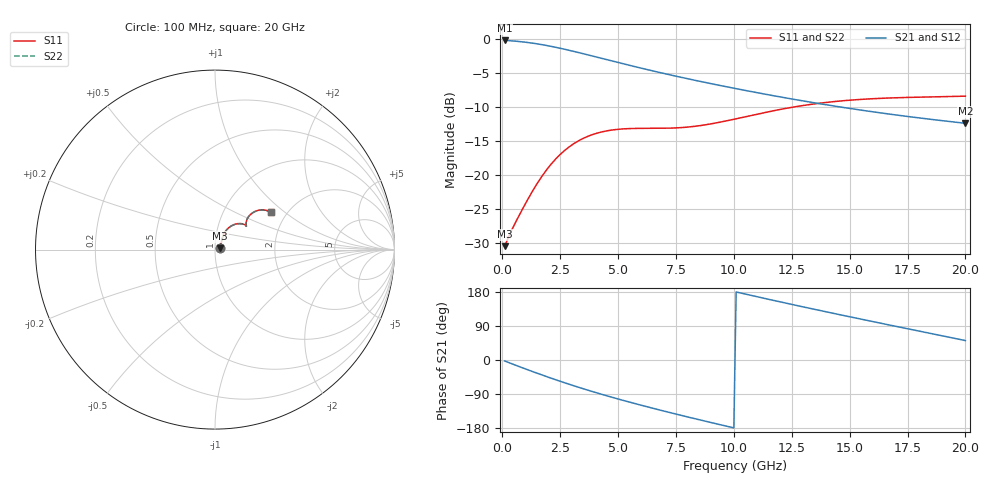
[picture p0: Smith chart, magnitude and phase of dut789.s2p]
! Touchstone file exported from HFSS 2024.1.0
!  File:  C:/UserFiles/LocalFiles/RDL_TSV_Batchsim/temp_RDL_TSV_789_1779907411.aedt
!  Generated:  03:01:26 AM May 28, 2026
!  Design:  RDL_TSV
!  Project:  temp_RDL_TSV_789_1779907411
!  Setup:  Setup1
!  Solution:  Sweep
! Variables:
!  dtsv = 8.12um
!  hbump = 3um
!  htsv = 86.12um
!  ldown = 687.46um
!  lrdl = 638.72um
!  p = 40
!  p1 = 41.77um
!  rhole = 10um
!  subl = 4617.26um
!  t = 450um
!  tdown = 4.55um
!  trdl = 3.04um
!  viad = 10um
!  wdown = 27.29um
!  wrdl = 13.1um
!  xbump = 18um
# GHz S MA R 50.000000
! Terminal data exported
! Port[1] = TM1_1_T1
! Port[2] = TM1_4_T1
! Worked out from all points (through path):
!   200 points, 100 MHz to 20 GHz, reference 50 ohm
!   highest |S21| = -0.26 dB at 100 MHz (marker M1); lowest = -12.4 dB at 20 GHz (marker M2)
!   group delay of S21, straight-line fit = 41.1 ps
!   lowest |S11| = -30.5 dB at 100 MHz (marker M3), VSWR 1.06, Z = 53 + j0.659 ohm
!   |S11| at or under -10 dB: start of sweep to 12.66 GHz
!   |S22| runs from -30.5 to -8.5 dB; largest |S21 - S12| = 2.8e-14
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0.1  0.0298 12.0  0.9707 -2.5  0.9707 -2.5  0.0298 12.0
! Gamma 0 0 0 0
! Port Impedance 50 0 50 0
0.5  0.0422 37.4  0.9614 -12.0  0.9614 -12.0  0.04223 37.4
0.9  0.05695 50.4  0.9467 -21.3  0.9467 -21.3  0.05697 50.2
1.4  0.08055 58.5  0.9225 -32.6  0.9225 -32.6  0.08047 58.3
1.8  0.1022 60.4  0.8988 -41.4  0.8988 -41.4  0.102 60.2
2.2  0.1246 59.8  0.872 -49.9  0.872 -49.9  0.1242 59.5
2.6  0.146 57.6  0.8432 -58.2  0.8432 -58.2  0.1454 57.4
3  0.1652 54.7  0.8132 -66.3  0.8132 -66.3  0.1644 54.4
3.5  0.1851 50.6  0.7754 -76.0  0.7754 -76.0  0.1841 50.4
4.2  0.2044 45.1  0.7237 -88.9  0.7237 -88.9  0.2031 44.9
5.1  0.2163 39.8  0.662 -104.6  0.662 -104.6  0.2148 39.7
5.9  0.219 37.2  0.6128 -117.8  0.6128 -117.8  0.2174 37.1
6.8  0.2191 36.8  0.5639 -132.0  0.5639 -132.0  0.2175 36.8
7.5  0.2207 38.0  0.53 -142.7  0.53 -142.7  0.2191 38.0
8.3  0.2267 40.2  0.4952 -154.6  0.4952 -154.6  0.2252 40.2
10.1  0.2577 44.2  0.429 179.5  0.429 179.5  0.2565 44.3
11.7  0.2951 44.3  0.3811 157.4  0.3811 157.4  0.2939 44.3
13.4  0.3302 41.8  0.3393 134.8  0.3393 134.8  0.3288 41.7
15  0.353 38.7  0.3071 114.1  0.3071 114.1  0.3514 38.6
16.7  0.3664 35.9  0.2792 92.6  0.2792 92.6  0.3645 35.8
18.2  0.3722 34.4  0.259 73.8  0.259 73.8  0.3701 34.3
20  0.3779 33.9  0.2387 51.3  0.2387 51.3  0.3757 33.8
